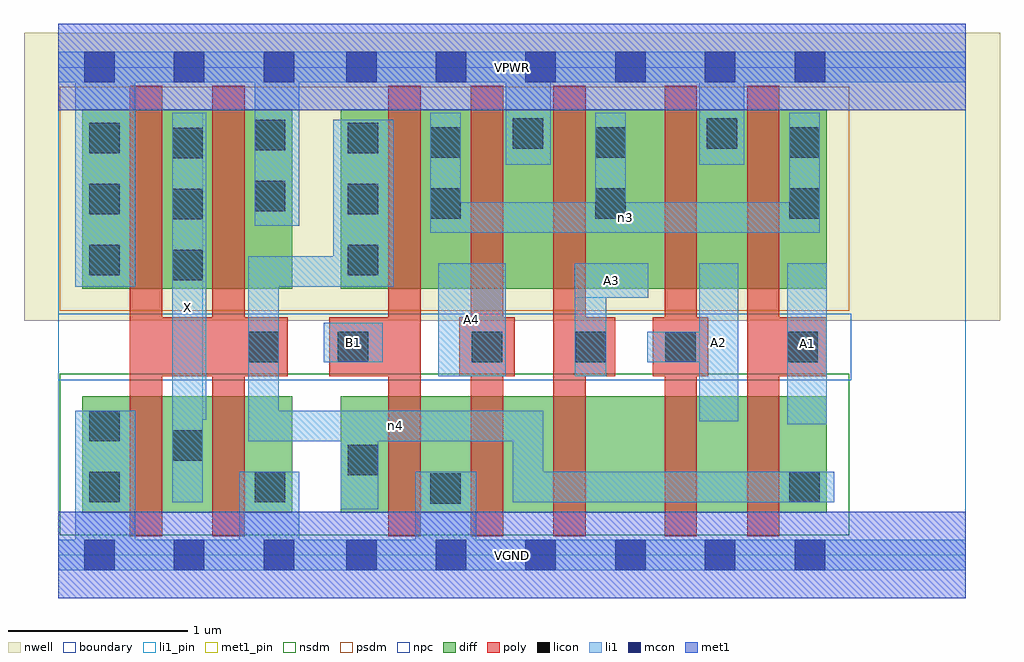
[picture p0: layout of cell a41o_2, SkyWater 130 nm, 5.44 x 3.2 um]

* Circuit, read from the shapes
.subckt a41o_2 A1 A2 A3 A4 B1 VGND VPWR X n3 n4
XM1 X n4 VGND VSUBS sky130_fd_pr__nfet_01v8 w=0.65 l=0.18 m=2
XM2 VGND B1 n4 VSUBS sky130_fd_pr__nfet_01v8 w=0.65 l=0.18
XM3 n1 A4 VGND VSUBS sky130_fd_pr__nfet_01v8 w=0.65 l=0.18
XM4 n2 A3 n1 VSUBS sky130_fd_pr__nfet_01v8 w=0.65 l=0.18
XM5 n5 A2 n2 VSUBS sky130_fd_pr__nfet_01v8 w=0.65 l=0.18
XM6 n4 A1 n5 VSUBS sky130_fd_pr__nfet_01v8 w=0.65 l=0.18
XM7 X n4 VPWR n6 sky130_fd_pr__pfet_01v8 w=1 l=0.18 m=2
XM8 n3 B1 n4 n6 sky130_fd_pr__pfet_01v8 w=1 l=0.18
XM9 VPWR A4 n3 n6 sky130_fd_pr__pfet_01v8 w=1 l=0.18
XM10 n3 A3 VPWR n6 sky130_fd_pr__pfet_01v8 w=1 l=0.18
XM11 VPWR A2 n3 n6 sky130_fd_pr__pfet_01v8 w=1 l=0.18
XM12 n3 A1 VPWR n6 sky130_fd_pr__pfet_01v8 w=1 l=0.18
.ends

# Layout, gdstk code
import gdstk
lib = gdstk.Library(unit=1e-6, precision=1e-09)
def R(c, l, rs):  # rectangles x0, y0, x1, y1
    for r in rs: c.add(gdstk.rectangle(r[:2], r[2:], *l))
def A(c, l, x, y, w, h, nx, ny, dx, dy):  # array of equal rectangles
    R(c, l, [(x+i*dx, y+j*dy, x+i*dx+w, y+j*dy+h) for i in range(nx) for j in range(ny)])
nwell = (64, 20)
diff = (65, 20)
poly = (66, 20)
licon = (66, 44)
li1_pin = (67, 16)
li1 = (67, 20)
mcon = (67, 44)
met1_pin = (68, 16)
met1 = (68, 20)
nsdm = (93, 44)
psdm = (94, 20)
npc = (95, 20)
boundary = (235, 4)

a41o_2 = lib.new_cell('a41o_2')
R(a41o_2, nwell, [(-0.19,1.305,5.25,2.91), (0,1.305,5.06,2.91)])
R(a41o_2, diff, [(0.135,0.235,1.305,0.885), (1.575,0.235,4.285,0.885), (0.135,1.485,1.305,2.485), (1.575,1.485,4.285,2.485)])
A(a41o_2, poly, 1.84, 0.105, 0.18, 2.51, 3, 1, 0.46, 0)
R(a41o_2, poly, [(0.4,0.105,0.58,2.615), (0.86,0.105,1.04,2.615), (3.38,0.105,3.56,2.615), (3.84,0.105,4.02,2.615), (0.4,0.995,1.28,1.325), (1.51,0.995,2.02,1.325), (2.235,0.995,2.545,1.325), (2.76,0.995,3.105,1.325), (3.315,0.995,3.625,1.325), (3.84,0.995,4.285,1.325)])
A(a41o_2, licon, 0.635, 1.53, 0.17, 0.17, 1, 3, 0, 0.34)
A(a41o_2, licon, 0.175, 1.56, 0.17, 0.17, 1, 3, 0, 0.34)
A(a41o_2, licon, 1.615, 1.56, 0.17, 0.17, 1, 3, 0, 0.34)
R(a41o_2, licon, [(2.075,0.285,2.245,0.455), (0.175,0.295,0.345,0.465), (1.095,0.295,1.265,0.465), (4.075,0.295,4.245,0.465), (1.615,0.445,1.785,0.615), (0.635,0.525,0.805,0.695), (0.175,0.635,0.345,0.805), (1.06,1.075,1.23,1.245), (1.56,1.075,1.73,1.245), (2.305,1.075,2.475,1.245), (2.885,1.075,3.055,1.245), (3.385,1.075,3.555,1.245), (4.065,1.075,4.235,1.245), (2.075,1.875,2.245,2.045), (2.995,1.875,3.165,2.045), (4.075,1.875,4.245,2.045), (1.095,1.915,1.265,2.085), (2.075,2.215,2.245,2.385), (2.995,2.215,3.165,2.385), (4.075,2.215,4.245,2.385), (1.095,2.255,1.265,2.425), (2.535,2.265,2.705,2.435), (3.615,2.265,3.785,2.435)])
R(a41o_2, li1_pin, [(0.635,0.295,0.805,2.465), (4.065,0.73,4.285,1.625), (3.575,0.745,3.79,1.625), (2.12,0.995,2.495,1.625), (1.48,1.075,1.81,1.295), (2.88,1.435,3.29,1.625)])
R(a41o_2, li1, [(0,-0.085,5.06,0.085), (0.095,-0.085,0.43,0.805), (1.01,-0.085,1.345,0.465), (1.99,-0.085,2.33,0.465), (1.575,0.255,1.785,0.805), (0.635,0.295,0.805,2.465), (2.535,0.295,4.325,0.465), (2.535,0.295,2.705,0.805), (1.06,0.635,2.705,0.805), (1.06,0.635,1.23,1.665), (4.065,0.73,4.285,1.625), (3.575,0.745,3.79,1.625), (0.635,0.755,0.825,2.465), (2.12,0.995,2.495,1.625), (2.88,0.995,3.055,1.625), (1.48,1.075,1.81,1.295), (3.285,1.075,3.79,1.245), (2.88,1.435,3.29,1.625), (0.095,1.495,0.43,2.805), (1.06,1.495,1.87,1.665), (1.535,1.495,1.87,2.425), (2.075,1.795,4.245,1.965), (2.075,1.795,2.245,2.465), (2.995,1.795,3.165,2.465), (4.075,1.795,4.245,2.465), (1.095,1.835,1.345,2.805), (2.495,2.175,2.745,2.805), (3.575,2.175,3.825,2.805), (0,2.635,5.06,2.805)])
A(a41o_2, mcon, 0.145, -0.085, 0.17, 0.17, 3, 2, 0.5, 2.72)
A(a41o_2, mcon, 1.605, -0.085, 0.17, 0.17, 6, 2, 0.5, 2.72)
R(a41o_2, met1_pin, [(0,-0.24,5.06,0.24), (0,2.48,5.06,2.96)])
R(a41o_2, met1, [(0,-0.24,5.06,0.24), (0,2.48,5.06,2.96)])
R(a41o_2, nsdm, [(0.01,0.11,4.41,1.01)])
R(a41o_2, psdm, [(0.01,1.36,4.41,2.61)])
R(a41o_2, npc, [(0,0.975,4.42,1.345)])
R(a41o_2, boundary, [(0,0,5.06,2.72)])
a41o_2.add(gdstk.Label('A1', (4.175,1.177), layer=67, texttype=5))
a41o_2.add(gdstk.Label('A2', (3.682,1.185), layer=67, texttype=5))
a41o_2.add(gdstk.Label('A3', (3.085,1.53), layer=67, texttype=5))
a41o_2.add(gdstk.Label('A4', (2.307,1.31), layer=67, texttype=5))
a41o_2.add(gdstk.Label('B1', (1.645,1.185), layer=67, texttype=5))
a41o_2.add(gdstk.Label('X', (0.72,1.38), layer=67, texttype=5))
a41o_2.add(gdstk.Label('n4', (1.882,0.72), layer=67, texttype=5))
a41o_2.add(gdstk.Label('n3', (3.16,1.88), layer=67, texttype=5))
a41o_2.add(gdstk.Label('VPWR', (2.53,2.72), layer=68, texttype=5))
a41o_2.add(gdstk.Label('VGND', (2.53,0), layer=68, texttype=5))
a41o_2.add(gdstk.Label('A1', (4.175,1.177), layer=67, texttype=16))
a41o_2.add(gdstk.Label('A2', (3.682,1.185), layer=67, texttype=16))
a41o_2.add(gdstk.Label('A3', (3.085,1.53), layer=67, texttype=16))
a41o_2.add(gdstk.Label('A4', (2.307,1.31), layer=67, texttype=16))
a41o_2.add(gdstk.Label('B1', (1.645,1.185), layer=67, texttype=16))
a41o_2.add(gdstk.Label('X', (0.72,1.38), layer=67, texttype=16))
a41o_2.add(gdstk.Label('VPWR', (2.53,2.72), layer=68, texttype=16))
a41o_2.add(gdstk.Label('VGND', (2.53,0), layer=68, texttype=16))

lib.write_gds('a41o_2.gds')
